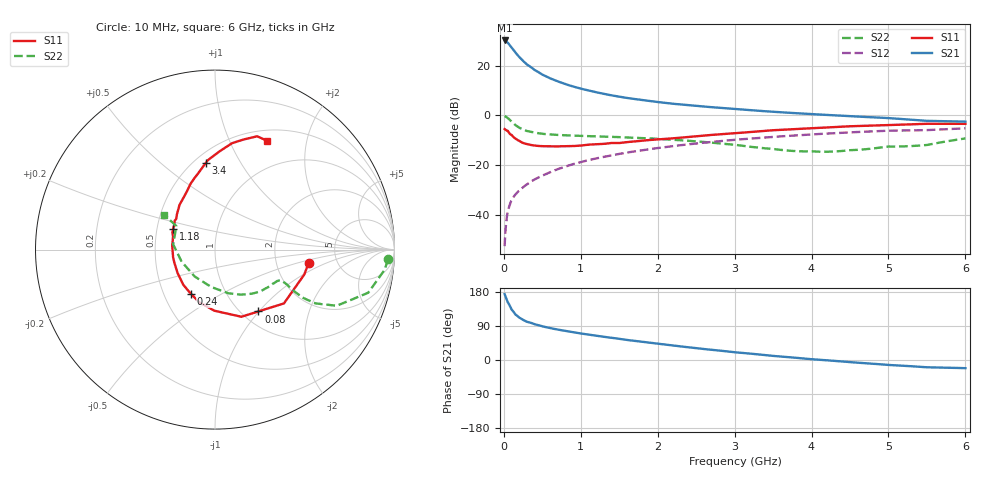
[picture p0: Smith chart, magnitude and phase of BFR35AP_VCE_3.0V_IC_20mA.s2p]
! Infineon Technologies  Discrete & RF Semiconductors
! BFR35AP
! VCE =  3.0 V,  IC =  20 mA
! Common Emitter S-Parameters:  Nov 2015
# GHz  S  MA  R  50
!  f  S11  S21  S12  S22
! GHz  MAG  ANG  MAG  ANG  MAG  ANG  MAG  ANG
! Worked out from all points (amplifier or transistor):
!   210 points, 10 MHz to 6 GHz, reference 50 ohm
!   highest |S21| = 30.2 dB at 10 MHz (marker M1)
!   |S21| within 3 dB of that: start of sweep to 105.5 MHz
!   unconditionally stable (mu >= 1): 391.2 MHz to 3.279 GHz
!   at 185 MHz: K = 0.76, MSG = 27.4 dB, |S12| = -30.8 dB
!   at 1.52 GHz: K = 1.11, MAG = 9.4 dB, |S12| = -15.5 dB
!   at 6 GHz: K = 0.96, MSG = 1.4 dB, |S12| = -5.3 dB
!   S11 on the Smith chart (normalised r, x): 10 MHz: 3.08, -0.63; 80 MHz: 1.19, -0.99; 240 MHz: 0.69, -0.37; 1.18 GHz: 0.61, +0.15; 3.4 GHz: 0.57, +0.72; 6 GHz: 0.63, +1.39
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0.01  0.5272 -8.1  32.22 174.0  0.0023 86.1  0.9659 -3.2
0.02  0.5162 -15.7  31.73 168.2  0.0045 84.6  0.9517 -6.8
0.05  0.4872 -38.0  29.27 152.8  0.0113 76.0  0.8871 -15.7
0.08  0.421 -54.9  25.38 142.3  0.0162 70.4  0.8001 -20.8
0.1  0.4021 -68.5  23.4 133.5  0.0196 68.2  0.7462 -24.8
0.15  0.3405 -90.6  18.45 120.1  0.0253 65.1  0.634 -28.2
0.2  0.3055 -107.1  14.97 111.9  0.0305 65.9  0.5626 -28.7
0.24  0.281 -118.1  12.92 107.1  0.0344 66.6  0.5236 -28.2
0.3  0.2635 -132.3  10.6 100.9  0.0405 67.9  0.4826 -27.4
0.4  0.246 -147.9  8.199 94.5  0.051 68.8  0.4457 -25.9
0.5  0.2385 -160.3  6.607 88.7  0.0607 70.1  0.423 -25.3
0.7  0.2363 -178.2  4.825 80.2  0.0819 70.0  0.4019 -25.4
0.8  0.24 175.3  4.237 76.6  0.0925 69.3  0.3948 -25.9
1.02  0.2476 161.4  3.384 69.4  0.1159 68.3  0.3835 -28.1
1.18  0.2604 153.8  2.962 64.6  0.133 67.1  0.3754 -30.3
1.6  0.2882 137.7  2.235 52.9  0.1769 62.9  0.3567 -37.0
2.02  0.328 124.6  1.834 42.5  0.2207 58.3  0.3339 -45.4
3.1  0.4465 100.8  1.301 18.8  0.3294 44.6  0.2428 -76.8
3.4  0.4857 96.0  1.205 12.9  0.3574 40.6  0.2155 -90.4
4.1  0.5599 85.7  1.036 0.7  0.4197 31.3  0.1847 -133.9
5.1  0.6419 74.1  0.856 -14.1  0.491 16.9  0.2344 167.9
6  0.6723 64.3  0.745 -21.5  0.5459 6.5  0.342 145.5
